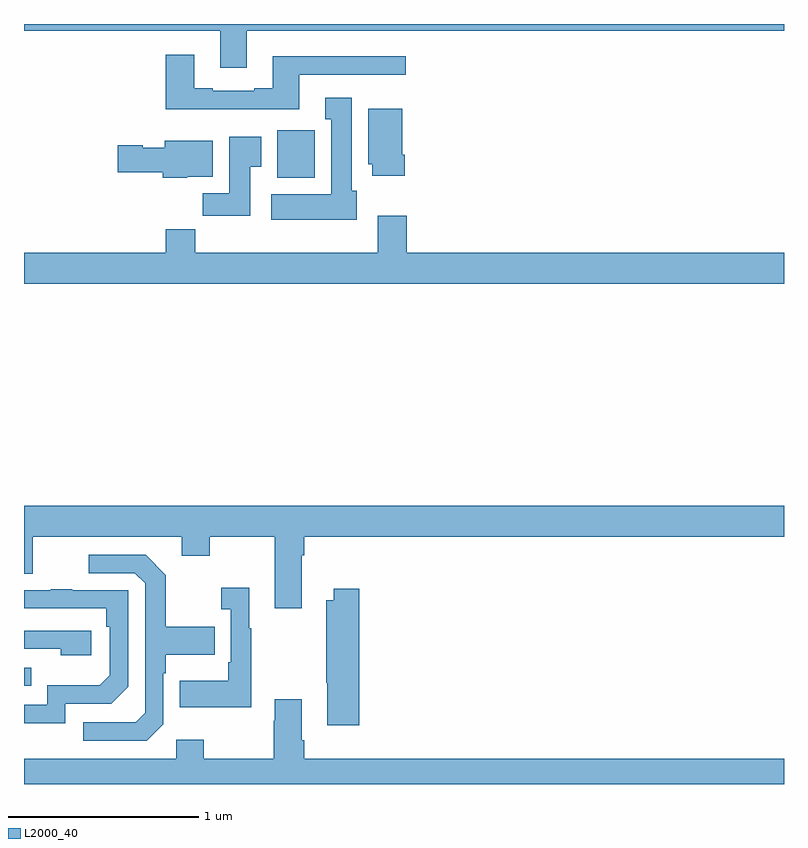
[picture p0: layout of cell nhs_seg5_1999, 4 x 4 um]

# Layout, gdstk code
import gdstk
lib = gdstk.Library(unit=1e-6, precision=1e-09)
def R(c, l, rs):  # rectangles x0, y0, x1, y1
    for r in rs: c.add(gdstk.rectangle(r[:2], r[2:], *l))
def P(c, l, *ps):  # polygons
    for p in ps: c.add(gdstk.Polygon(p, *l))
L2000_40 = (2000, 40)

nhs_seg5_1999 = lib.new_cell('nhs_seg5_1999')
R(nhs_seg5_1999, L2000_40, [(229,849.315,229.037,849.411), (230.333,851.99,230.529,852.241)])
P(nhs_seg5_1999, L2000_40, [(230.173,852.764),(233,852.764),(233,852.799),(229,852.799),(229,852.764),(230.033,852.764),(230.033,852.57),(230.173,852.57)],
  [(230.449,852.531),(231.01,852.531),(231.01,852.628),(230.309,852.628),(230.309,852.46),(230.213,852.46),(230.213,852.447),(229.993,852.447),(229.993,852.46),(229.897,852.46),(229.897,852.637),(229.745,852.637),(229.745,852.35),(230.449,852.35)],
  [(230.752,851.922),(230.725,851.922),(230.725,852.412),(230.585,852.412),(230.585,852.299),(230.618,852.299),(230.618,851.902),(230.301,851.902),(230.301,851.768),(230.752,851.768)],
  [(231.005,852.112),(230.992,852.112),(230.992,852.352),(230.813,852.352),(230.813,852.06),(230.834,852.06),(230.834,852),(231.005,852)],
  [(230.191,852.049),(230.248,852.049),(230.248,852.205),(230.081,852.205),(230.081,851.908),(229.942,851.908),(229.942,851.79),(230.191,851.79)],
  [(229.86,851.996),(229.993,851.996),(229.993,852.184),(229.742,852.184),(229.742,852.148),(229.626,852.148),(229.626,852.161),(229.494,852.161),(229.494,852.019),(229.73,852.019),(229.73,851.99),(229.86,851.99)],
  [(233,851.596),(231.014,851.596),(231.014,851.791),(230.861,851.791),(230.861,851.596),(229.901,851.596),(229.901,851.72),(229.745,851.72),(229.745,851.596),(229,851.596),(229,851.432),(233,851.432)],
  [(230.461,850.004),(230.474,850.004),(230.474,850.1),(233,850.1),(233,850.264),(229,850.264),(229,849.906),(229.045,849.906),(229.045,850.1),(229.829,850.1),(229.829,850.001),(229.977,850.001),(229.977,850.1),(230.321,850.1),(230.321,849.723),(230.461,849.723)],
  [(229.734,849.114),(229.734,849.383),(229.747,849.383),(229.747,849.479),(230.003,849.479),(230.003,849.627),(229.747,849.627),(229.747,849.899),(229.641,850.005),(229.341,850.005),(229.341,849.909),(229.584,849.909),(229.638,849.855),(229.638,849.174),(229.587,849.123),(229.311,849.123),(229.311,849.027),(229.647,849.027)],
  [(230.197,849.619),(230.185,849.619),(230.185,849.832),(230.037,849.832),(230.037,849.719),(230.088,849.719),(230.088,849.439),(230.076,849.439),(230.076,849.343),(229.819,849.343),(229.819,849.203),(230.197,849.203)],
  [(230.765,849.826),(230.63,849.826),(230.63,849.766),(230.59,849.766),(230.59,849.331),(230.597,849.331),(230.597,849.108),(230.765,849.108)],
  [(229.218,849.222),(229.458,849.222),(229.548,849.312),(229.548,849.819),(229.253,849.819),(229.253,849.824),(229.141,849.824),(229.141,849.819),(229,849.819),(229,849.723),(229.432,849.723),(229.432,849.626),(229.452,849.626),(229.452,849.372),(229.399,849.319),(229.122,849.319),(229.122,849.216),(229,849.216),(229,849.12),(229.218,849.12)],
  [(229.354,849.606),(229,849.606),(229,849.51),(229.193,849.51),(229.193,849.476),(229.354,849.476)],
  [(233,848.932),(230.474,848.932),(230.474,849.028),(230.461,849.028),(230.461,849.244),(230.321,849.244),(230.321,849.131),(230.314,849.131),(230.314,848.932),(229.947,848.932),(229.947,849.031),(229.8,849.031),(229.8,848.932),(229,848.932),(229,848.799),(233,848.799)])

lib.write_gds('nhs_seg5_1999.gds')
